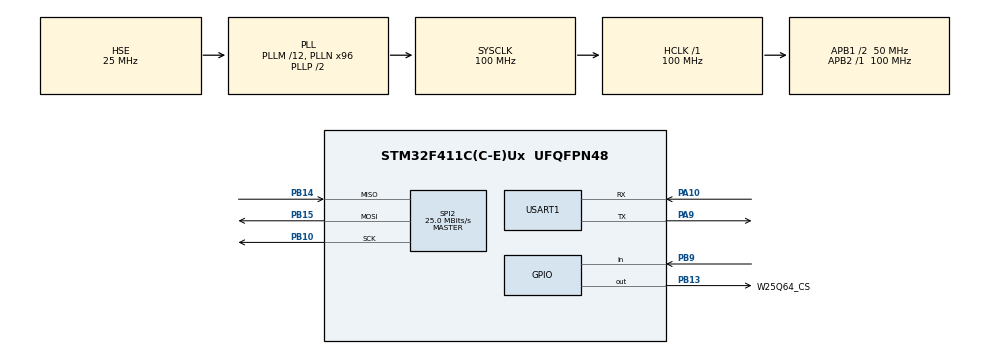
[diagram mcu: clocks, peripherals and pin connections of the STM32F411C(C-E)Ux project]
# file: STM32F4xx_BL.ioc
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Dma.Request0=USART1_RX
Dma.Request1=SPI2_TX
Dma.Request2=SPI2_RX
Dma.SPI2_RX.2.Direction=DMA_PERIPH_TO_MEMORY
Dma.SPI2_RX.2.FIFOMode=DMA_FIFOMODE_DISABLE
Dma.SPI2_RX.2.Instance=DMA1_Stream3
Dma.SPI2_RX.2.MemDataAlignment=DMA_MDATAALIGN_BYTE
Dma.SPI2_RX.2.MemInc=DMA_MINC_ENABLE
Dma.SPI2_RX.2.Mode=DMA_NORMAL
Dma.SPI2_RX.2.PeriphDataAlignment=DMA_PDATAALIGN_BYTE
Dma.SPI2_RX.2.PeriphInc=DMA_PINC_DISABLE
Dma.SPI2_RX.2.Priority=DMA_PRIORITY_LOW
Dma.SPI2_TX.1.Direction=DMA_MEMORY_TO_PERIPH
Dma.SPI2_TX.1.FIFOMode=DMA_FIFOMODE_DISABLE
Dma.SPI2_TX.1.Instance=DMA1_Stream4
Dma.SPI2_TX.1.MemDataAlignment=DMA_MDATAALIGN_BYTE
Dma.SPI2_TX.1.MemInc=DMA_MINC_ENABLE
Dma.SPI2_TX.1.Mode=DMA_NORMAL
Dma.SPI2_TX.1.PeriphDataAlignment=DMA_PDATAALIGN_BYTE
Dma.SPI2_TX.1.PeriphInc=DMA_PINC_DISABLE
Dma.SPI2_TX.1.Priority=DMA_PRIORITY_LOW
Dma.USART1_RX.0.Direction=DMA_PERIPH_TO_MEMORY
Dma.USART1_RX.0.FIFOMode=DMA_FIFOMODE_DISABLE
Dma.USART1_RX.0.Instance=DMA2_Stream2
Dma.USART1_RX.0.MemDataAlignment=DMA_MDATAALIGN_BYTE
Dma.USART1_RX.0.MemInc=DMA_MINC_ENABLE
Dma.USART1_RX.0.Mode=DMA_NORMAL
Dma.USART1_RX.0.PeriphDataAlignment=DMA_PDATAALIGN_BYTE
Dma.USART1_RX.0.PeriphInc=DMA_PINC_DISABLE
Dma.USART1_RX.0.Priority=DMA_PRIORITY_LOW
Mcu.Family=STM32F4
Mcu.Name=STM32F411C(C-E)Ux
Mcu.Package=UFQFPN48
NVIC.DMA1_Stream3_IRQn=true\:0\:0\:false\:false\:true\:false\:true\:true
NVIC.DMA1_Stream4_IRQn=true\:0\:0\:false\:false\:true\:false\:true\:true
NVIC.DMA2_Stream2_IRQn=true\:0\:0\:false\:false\:true\:false\:true\:true
NVIC.PriorityGroup=NVIC_PRIORITYGROUP_4
NVIC.SPI2_IRQn=true\:0\:0\:false\:false\:true\:true\:true\:true
NVIC.USART1_IRQn=true\:0\:0\:false\:false\:true\:true\:true\:true
PA10.Mode=Asynchronous
PA10.Signal=USART1_RX
PA13.Mode=Serial_Wire
PA13.Signal=SYS_JTMS-SWDIO
PA14.Mode=Serial_Wire
PA14.Signal=SYS_JTCK-SWCLK
PA9.Mode=Asynchronous
PA9.Signal=USART1_TX
PB10.Mode=Full_Duplex_Master
PB10.Signal=SPI2_SCK
PB13.GPIO_Label=W25Q64_CS
PB13.GPIO_Speed=GPIO_SPEED_FREQ_HIGH
PB13.PinState=GPIO_PIN_SET
PB13.Signal=GPIO_Output
PB14.Mode=Full_Duplex_Master
PB14.Signal=SPI2_MISO
PB15.Mode=Full_Duplex_Master
PB15.Signal=SPI2_MOSI
PB9.GPIO_PuPd=GPIO_PULLDOWN
PB9.Signal=GPIO_Input
PH0\ -\ OSC_IN.Mode=HSE-External-Oscillator
PH0\ -\ OSC_IN.Signal=RCC_OSC_IN
PH1\ -\ OSC_OUT.Mode=HSE-External-Oscillator
PH1\ -\ OSC_OUT.Signal=RCC_OSC_OUT
ProjectManager.HeapSize=0x200
ProjectManager.StackSize=0x1000
ProjectManager.TargetToolchain=MDK-ARM V5.32
RCC.48MHZClocksFreq_Value=50000000
RCC.AHBFreq_Value=100000000
RCC.APB1CLKDivider=RCC_HCLK_DIV2
RCC.APB1Freq_Value=50000000
RCC.APB1TimFreq_Value=100000000
RCC.APB2Freq_Value=100000000
RCC.APB2TimFreq_Value=100000000
RCC.CortexFreq_Value=100000000
RCC.HCLKFreq_Value=100000000
RCC.HSE_VALUE=25000000
RCC.HSI_VALUE=16000000
RCC.LSE_VALUE=32768
RCC.PLLM=12
RCC.PLLN=96
RCC.PLLSourceVirtual=RCC_PLLSOURCE_HSE
RCC.SYSCLKFreq_VALUE=100000000
RCC.SYSCLKSource=RCC_SYSCLKSOURCE_PLLCLK
RCC.VCOOutputFreq_Value=200000000
SPI2.CalculateBaudRate=25.0 MBits/s
SPI2.Direction=SPI_DIRECTION_2LINES
SPI2.Mode=SPI_MODE_MASTER
SPI2.VirtualType=VM_MASTER
TIM2.Prescaler=100 - 1
USART1.VirtualMode=VM_ASYNC
VP_CRC_VS_CRC.Mode=CRC_Activate
VP_TIM2_VS_ClockSourceINT.Mode=Internal
board=custom

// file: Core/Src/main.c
/* USER CODE BEGIN Header */
/**
  ******************************************************************************
  * @file           : main.c
  * @brief          : Main program body
  ******************************************************************************
  * @attention
  *
  * Copyright (c) 2026 STMicroelectronics.
  * All rights reserved.
  *
  * This software is licensed under terms that can be found in the LICENSE file
  * in the root directory of this software component.
  * If no LICENSE file comes with this software, it is provided AS-IS.
  *
  ******************************************************************************
  */
/* USER CODE END Header */
#include "main.h"
#include "crc.h"
#include "dma.h"
#include "spi.h"
#include "tim.h"
#include "usart.h"
#include "gpio.h"

/* USER CODE BEGIN Includes */
#include <stdio.h>
#include <string.h>
#include "ymodem.h"
#include "w25q64.h"
#include "bl_jump.h"
/* USER CODE END Includes */

/* USER CODE BEGIN PV */
uint8_t tab_1024[1024];
uint8_t rx[10];
extern uint8_t debug_count;
extern uint8_t FileName[FILE_NAME_LENGTH];
extern UpgradeSlot_t slot;

//UpgradeSlot_t slot;

/* USER CODE END PV */

void SystemClock_Config(void);

/* USER CODE BEGIN 0 */
int fputc(int ch, FILE *f) {
  (void)f;  // 忽略参数，避免�?�告
  HAL_UART_Transmit(&huart1, (const uint8_t *)&ch, 1, 500); // 发送一�?字节
  return ch;
}
/* USER CODE END 0 */

int main(void)
{

  /* MCU Configuration--------------------------------------------------------*/

  /* Reset of all peripherals, Initializes the Flash interface and the Systick. */
  HAL_Init();

  /* Configure the system clock */
  SystemClock_Config();

  /* Initialize all configured peripherals */
  MX_GPIO_Init();
  MX_DMA_Init();
  MX_USART1_UART_Init();
  MX_TIM2_Init();
  MX_CRC_Init();
  MX_SPI2_Init();
  /* USER CODE BEGIN 2 */
  if(HAL_GPIO_ReadPin(GPIOB, GPIO_PIN_9) == GPIO_PIN_SET)
  {
    W25Q64_EraseSlotRegion();
    W25Q64_EraseBackupRegion();
    W25Q64_EraseDownloadRegion();

    printf("Erase ok\r\n");

    Ymodem_Receive(tab_1024);
	W25Q64_WriteFlash(tab_1024);
    W25Q64_ReadData(0x200000, tab_1024, 4);
    //HAL_Delay(2000);
    //printf("%d, %d,%d,%d,%d\r\n",debug_count, tab_1024[0],tab_1024[1],tab_1024[2],tab_1024[3]);
    W25Q64_WriteUpgradeSlot(&slot);
    BL_JumpApplication();
  }
  else
  {
	  W25Q64_ReadLatestUpgradeSlot(&slot);
	  if(slot.upgrade_state != UPGRADE_STATE_NONE){
	  while(1);
	  }
		BL_JumpApplication();
  }

  /* USER CODE END 2 */

  /* Infinite loop */
  /* USER CODE BEGIN WHILE */
  while (1)
  {

    while(1);

    /* USER CODE END WHILE */

  }
}

void SystemClock_Config(void)
{
  RCC_OscInitTypeDef RCC_OscInitStruct = {0};
  RCC_ClkInitTypeDef RCC_ClkInitStruct = {0};

  /** Configure the main internal regulator output voltage
  */
  __HAL_RCC_PWR_CLK_ENABLE();
  __HAL_PWR_VOLTAGESCALING_CONFIG(PWR_REGULATOR_VOLTAGE_SCALE1);

  /** Initializes the RCC Oscillators according to the specified parameters
  * in the RCC_OscInitTypeDef structure.
  */
  RCC_OscInitStruct.OscillatorType = RCC_OSCILLATORTYPE_HSE;
  RCC_OscInitStruct.HSEState = RCC_HSE_ON;
  RCC_OscInitStruct.PLL.PLLState = RCC_PLL_ON;
  RCC_OscInitStruct.PLL.PLLSource = RCC_PLLSOURCE_HSE;
  RCC_OscInitStruct.PLL.PLLM = 12;
  RCC_OscInitStruct.PLL.PLLN = 96;
  RCC_OscInitStruct.PLL.PLLP = RCC_PLLP_DIV2;
  RCC_OscInitStruct.PLL.PLLQ = 4;
  if (HAL_RCC_OscConfig(&RCC_OscInitStruct) != HAL_OK)
  {
    Error_Handler();
  }

  /** Initializes the CPU, AHB and APB buses clocks
  */
  RCC_ClkInitStruct.ClockType = RCC_CLOCKTYPE_HCLK|RCC_CLOCKTYPE_SYSCLK
                              |RCC_CLOCKTYPE_PCLK1|RCC_CLOCKTYPE_PCLK2;
  RCC_ClkInitStruct.SYSCLKSource = RCC_SYSCLKSOURCE_PLLCLK;
  RCC_ClkInitStruct.AHBCLKDivider = RCC_SYSCLK_DIV1;
  RCC_ClkInitStruct.APB1CLKDivider = RCC_HCLK_DIV2;
  RCC_ClkInitStruct.APB2CLKDivider = RCC_HCLK_DIV1;

  if (HAL_RCC_ClockConfig(&RCC_ClkInitStruct, FLASH_LATENCY_3) != HAL_OK)
  {
    Error_Handler();
  }
}

void Error_Handler(void)
{
  __disable_irq();
  while (1)
  {
  }
}
